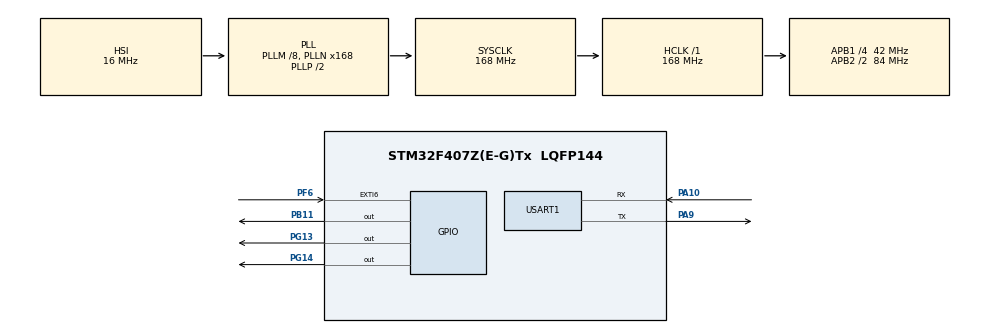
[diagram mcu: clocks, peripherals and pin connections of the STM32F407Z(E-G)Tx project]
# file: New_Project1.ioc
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FREERTOS.Tasks01=defaultTask,24,128,StartDefaultTask,Default,NULL,Dynamic,NULL,NULL
FREERTOS.configTOTAL_HEAP_SIZE=20480
Mcu.Family=STM32F4
Mcu.Name=STM32F407Z(E-G)Tx
Mcu.Package=LQFP144
NVIC.EXTI9_5_IRQn=true\:7\:0\:true\:false\:true\:true\:true\:true\:true
NVIC.PriorityGroup=NVIC_PRIORITYGROUP_4
NVIC.TIM3_IRQn=true\:6\:0\:true\:false\:true\:true\:true\:true\:true
NVIC.TIM6_DAC_IRQn=true\:15\:0\:false\:false\:true\:false\:false\:true\:true
NVIC.TimeBase=TIM6_DAC_IRQn
NVIC.TimeBaseIP=TIM6
PA10.Mode=Asynchronous
PA10.Signal=USART1_RX
PA13.Mode=Serial_Wire
PA13.Signal=SYS_JTMS-SWDIO
PA14.Mode=Serial_Wire
PA14.Signal=SYS_JTCK-SWCLK
PA9.Mode=Asynchronous
PA9.Signal=USART1_TX
PB11.Signal=GPIO_Output
PF6.GPIO_ModeDefaultEXTI=GPIO_MODE_IT_FALLING
PF6.GPIO_PuPd=GPIO_PULLUP
PF6.Signal=GPXTI6
PG13.Signal=GPIO_Output
PG14.Signal=GPIO_Output
ProjectManager.HeapSize=0x200
ProjectManager.StackSize=0x400
ProjectManager.TargetToolchain=MDK-ARM V5.32
RCC.48MHZClocksFreq_Value=84000000
RCC.AHBFreq_Value=168000000
RCC.APB1CLKDivider=RCC_HCLK_DIV4
RCC.APB1Freq_Value=42000000
RCC.APB1TimFreq_Value=84000000
RCC.APB2CLKDivider=RCC_HCLK_DIV2
RCC.APB2Freq_Value=84000000
RCC.APB2TimFreq_Value=168000000
RCC.CortexFreq_Value=168000000
RCC.HCLKFreq_Value=168000000
RCC.HSE_VALUE=25000000
RCC.HSI_VALUE=16000000
RCC.LSE_VALUE=32768
RCC.PLLM=8
RCC.PLLN=168
RCC.SYSCLKFreq_VALUE=168000000
RCC.SYSCLKSource=RCC_SYSCLKSOURCE_PLLCLK
RCC.VCOOutputFreq_Value=336000000
TIM3.Period=99
TIM3.Prescaler=8399
USART1.VirtualMode=VM_ASYNC
VP_FREERTOS_VS_CMSIS_V2.Mode=CMSIS_V2
VP_SYS_VS_tim6.Mode=TIM6
VP_TIM3_VS_ClockSourceINT.Mode=Internal
board=custom

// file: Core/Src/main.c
/* USER CODE BEGIN Header */
/**
  ******************************************************************************
  * @file           : main.c
  * @brief          : Main program body
  ******************************************************************************
  * @attention
  *
  * <h2><center>&copy; Copyright (c) 2025 STMicroelectronics.
  * All rights reserved.</center></h2>
  *
  * This software component is licensed by ST under BSD 3-Clause license,
  * the "License"; You may not use this file except in compliance with the
  * License. You may obtain a copy of the License at:
  *                        opensource.org/licenses/BSD-3-Clause
  *
  ******************************************************************************
  */
/* USER CODE END Header */
#include "main.h"
#include "cmsis_os.h"
#include "tim.h"
#include "usart.h"
#include "gpio.h"

/* USER CODE BEGIN Includes */
#include "bsp_dht11.h"
#include "bsp_key.h"
#include "bsp_led.h"
#include "bsp_tick.h"
#include "bsp_usart.h"
#include "dwt_delay.h"
#include "app_main.h"
/* USER CODE END Includes */

void SystemClock_Config(void);
void MX_FREERTOS_Init(void);

int main(void)
{

  /* MCU Configuration--------------------------------------------------------*/

  /* Reset of all peripherals, Initializes the Flash interface and the Systick. */
  HAL_Init();

  /* Configure the system clock */
  SystemClock_Config();

  /* Initialize all configured peripherals */
	DWT_Delay_Init();
  MX_GPIO_Init();
  MX_TIM3_Init();
  MX_USART1_UART_Init();
  /* USER CODE BEGIN 2 */

	App_Init();

	printf("System Init OK\r\n");
  /* USER CODE END 2 */

  /* Init scheduler */
  osKernelInitialize();  /* Call init function for freertos objects (in freertos.c) */
  MX_FREERTOS_Init();
  /* Start scheduler */
  osKernelStart();

  /* We should never get here as control is now taken by the scheduler */
  /* Infinite loop */
  while (1)
  {

  }
}

void SystemClock_Config(void)
{
  RCC_OscInitTypeDef RCC_OscInitStruct = {0};
  RCC_ClkInitTypeDef RCC_ClkInitStruct = {0};

  /** Configure the main internal regulator output voltage
  */
  __HAL_RCC_PWR_CLK_ENABLE();
  __HAL_PWR_VOLTAGESCALING_CONFIG(PWR_REGULATOR_VOLTAGE_SCALE1);
  /** Initializes the RCC Oscillators according to the specified parameters
  * in the RCC_OscInitTypeDef structure.
  */
  RCC_OscInitStruct.OscillatorType = RCC_OSCILLATORTYPE_HSI;
  RCC_OscInitStruct.HSIState = RCC_HSI_ON;
  RCC_OscInitStruct.HSICalibrationValue = RCC_HSICALIBRATION_DEFAULT;
  RCC_OscInitStruct.PLL.PLLState = RCC_PLL_ON;
  RCC_OscInitStruct.PLL.PLLSource = RCC_PLLSOURCE_HSI;
  RCC_OscInitStruct.PLL.PLLM = 8;
  RCC_OscInitStruct.PLL.PLLN = 168;
  RCC_OscInitStruct.PLL.PLLP = RCC_PLLP_DIV2;
  RCC_OscInitStruct.PLL.PLLQ = 4;
  if (HAL_RCC_OscConfig(&RCC_OscInitStruct) != HAL_OK)
  {
    Error_Handler();
  }
  /** Initializes the CPU, AHB and APB buses clocks
  */
  RCC_ClkInitStruct.ClockType = RCC_CLOCKTYPE_HCLK|RCC_CLOCKTYPE_SYSCLK
                              |RCC_CLOCKTYPE_PCLK1|RCC_CLOCKTYPE_PCLK2;
  RCC_ClkInitStruct.SYSCLKSource = RCC_SYSCLKSOURCE_PLLCLK;
  RCC_ClkInitStruct.AHBCLKDivider = RCC_SYSCLK_DIV1;
  RCC_ClkInitStruct.APB1CLKDivider = RCC_HCLK_DIV4;
  RCC_ClkInitStruct.APB2CLKDivider = RCC_HCLK_DIV2;

  if (HAL_RCC_ClockConfig(&RCC_ClkInitStruct, FLASH_LATENCY_5) != HAL_OK)
  {
    Error_Handler();
  }
}

//void HAL_TIM_PeriodElapsedCallback(TIM_HandleTypeDef *htim)
//{
//  /* USER CODE BEGIN Callback 0 */

//  /* USER CODE END Callback 0 */
//  if (htim->Instance == TIM6) {
//    HAL_IncTick();
//  }
//  /* USER CODE BEGIN Callback 1 */

//  /* USER CODE END Callback 1 */
//}

void Error_Handler(void)
{
  __disable_irq();
  while (1)
  {
  }
}

/************************ (C) COPYRIGHT STMicroelectronics *****END OF FILE****/

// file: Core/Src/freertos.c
/* USER CODE BEGIN Header */
/**
  ******************************************************************************
  * File Name          : freertos.c
  * Description        : Code for freertos applications
  ******************************************************************************
  * @attention
  *
  * Copyright (c) 2025 STMicroelectronics.
  * All rights reserved.
  *
  * This software is licensed under terms that can be found in the LICENSE file
  * in the root directory of this software component.
  * If no LICENSE file comes with this software, it is provided AS-IS.
  *
  ******************************************************************************
  */
/* USER CODE END Header */

#include "FreeRTOS.h"
#include "task.h"
#include "main.h"
#include "cmsis_os.h"

/* USER CODE BEGIN Includes */

#include "main.h"
#include "app_types.h"
#include "app_task_led.h"
#include "app_task_uart.h"
#include "app_task_sensor.h"
#include "app_task_key.h"

/* USER CODE END Includes */

/* USER CODE BEGIN Variables */

/* ================== 1. 任务句柄 ================== */
osThreadId_t LedTaskHandle;
osThreadId_t PrintTaskHandle;
osThreadId_t CmdTaskHandle;
osThreadId_t KeyTaskHandle;
osThreadId_t SensorTaskHandle;

/* ================== 2. 任务属性 (Stack & Priority) ================== */

/* LED 任务：包含 printf，栈设为 512 */
const osThreadAttr_t LedTask_attributes = {
  .name = "LedTask",
  .stack_size = 512 * 4,
  .priority = (osPriority_t) osPriorityNormal,
};

/* 打印心跳任务：如果不怎么用 printf，256 也够，稳妥起见给 256 */
const osThreadAttr_t PrintTask_attributes = {
  .name = "PrintTask",
  .stack_size = 256 * 4,
  .priority = (osPriority_t) osPriorityNormal,
};

/* 命令任务：包含 printf 且处理字符串，栈设为 512 */
const osThreadAttr_t CmdTask_attributes = {
  .name = "CmdTask",
  .stack_size = 512 * 4,
  .priority = (osPriority_t) osPriorityNormal,
};

/* 传感器任务：【高优先级】保护时序，且包含 printf，栈设为 512 */
const osThreadAttr_t SensorTask_attributes = {
  .name = "SensorTask",
  .stack_size = 512 * 4,
  .priority = (osPriority_t) osPriorityAboveNormal, // <--- 关键！高于 CmdTask
};

/* 按键任务 */
const osThreadAttr_t KeyTask_attributes = {
  .name = "KeyTask",
  .stack_size = 256 * 4,
  .priority = (osPriority_t) osPriorityNormal,
};

/* ================== 3.队列句柄与属性定义 ================== */

/* 1. 命令队列 (Cmd) */
osMessageQueueId_t queueCmdHandle;
const osMessageQueueAttr_t queueCmd_attributes = {
  .name = "CmdQueue"
};

/* 2. 心跳队列 (Heartbeat) */
osMessageQueueId_t queueHeartbeatHandle;
const osMessageQueueAttr_t queueHeartbeat_attributes = {
  .name = "HeartbeatQueue"
};

/* 3. 按键队列 (Key) */
osMessageQueueId_t queueKeyHandle;
const osMessageQueueAttr_t queueKey_attributes = {
  .name = "KeyQueue"
};

/* 4. 串口字节流队列 (UART Byte) */
/* 这个队列通常不需要太复杂的属性，但为了统一风格也加上 */
osMessageQueueId_t queueUartByteHandle;
const osMessageQueueAttr_t queueUartByte_attributes = {
  .name = "UartByteQueue"
};

/* 5. Sensor事件队列 */
osMessageQueueId_t queueSensorHandle;
const osMessageQueueAttr_t queueSensor_attributes = {
	.name = "queueSensor"
};

/* ================== 4. 互斥锁句柄 ================== */
osMutexId_t uartMutexHandle;

/* 定义互斥锁属性 */
const osMutexAttr_t uartMutex_attributes = {
	.name = "UartMutex"
};

/* USER CODE END Variables */
/* Definitions for defaultTask */
osThreadId_t defaultTaskHandle;
const osThreadAttr_t defaultTask_attributes = {
  .name = "defaultTask",
  .stack_size = 128 * 4,
  .priority = (osPriority_t) osPriorityNormal,
};

/* ================== 5. 定时器句柄+属性  ================== */
osTimerId_t sensorTimerHandle;

const osTimerAttr_t sensorTimer_attributes = {
	.name = "sensorTimer"
};

/* USER CODE BEGIN FunctionPrototypes */

void StartLedTask(void *argument);
void StartPrintTask(void *argument);
void StartCmdTask(void *argument);
void StartSensorTask(void *argument);
void StartKeyTask(void *argument);

static void SensorTimerCallback(void *argument)
{

	(void)argument;

    SensorEvt_t evt = SENSOR_EVT_READ;

    /* Timer 回调里：只发事件，不做耗时工作 */
    (void)osMessageQueuePut(queueSensorHandle, &evt, 0, 0);
}

/* USER CODE END FunctionPrototypes */

void StartDefaultTask(void *argument);

void MX_FREERTOS_Init(void); /* (MISRA C 2004 rule 8.1) */

void MX_FREERTOS_Init(void) {
  /* USER CODE BEGIN Init */

	/* 1. 创建互斥锁 (最先创建) */
  uartMutexHandle = osMutexNew(&uartMutex_attributes);

  /* 2. 创建队列 (带属性版本) */

  /* Cmd 队列: 深度 5 (够存几个并发命令), 元素类型 CmdType */
  queueCmdHandle = osMessageQueueNew(5, sizeof(CmdType), &queueCmd_attributes);

  /* Heartbeat 队列: 深度 8 (您指定的), 元素类型 uint32_t */
  queueHeartbeatHandle = osMessageQueueNew(8, sizeof(uint32_t), &queueHeartbeat_attributes);

  /* Key 队列: 深度 5, 元素类型 uint8_t */
  queueKeyHandle = osMessageQueueNew(5, sizeof(uint8_t), &queueKey_attributes);

  /* UART Byte 队列: 深度 128 (作为缓冲池，必须大), 元素类型 uint8_t */
  queueUartByteHandle = osMessageQueueNew(128, sizeof(uint8_t), &queueUartByte_attributes);

	/* Sensor 队列   */
	queueSensorHandle = osMessageQueueNew(8, sizeof(SensorEvt_t), &queueSensor_attributes);

  /* USER CODE END Init */

  /* USER CODE BEGIN RTOS_TIMERS */
  /* start timers, add new ones, ... */

/* 创建软件定时器：周期 1s */
sensorTimerHandle = osTimerNew(SensorTimerCallback, osTimerPeriodic, NULL, &sensorTimer_attributes);

/* 启动：1000ms 周期 */
if (sensorTimerHandle != NULL)
{
    osTimerStart(sensorTimerHandle, 1000);
}

  /* USER CODE END RTOS_TIMERS */

  /* Create the thread(s) */
  /* creation of defaultTask */

  /* USER CODE BEGIN RTOS_THREADS */

 /* LED 任务：消费 queueHeartbeatHandle + queueCmdHandle */
  LedTaskHandle = osThreadNew(StartLedTask, NULL, &LedTask_attributes);

  /* Print 任务：定时发送 heartbeat 到 queueHeartbeatHandle */
  PrintTaskHandle = osThreadNew(StartPrintTask, NULL, &PrintTask_attributes);

  /* CMD 任务：阻塞读 UART，解析命令并发 CmdType 到 queueCmdHandle */
  CmdTaskHandle = osThreadNew(StartCmdTask, NULL, &CmdTask_attributes);

  /* Sensor 任务：周期性读取 DHT11，并通过串口打印 */
  SensorTaskHandle = osThreadNew(StartSensorTask, NULL, &SensorTask_attributes);

  /* Key 任务：从某个队列拿“模式变化” */
  KeyTaskHandle = osThreadNew(StartTask_Key, NULL, &KeyTask_attributes);

  /* add threads, ... */
  /* USER CODE END RTOS_THREADS */

}
